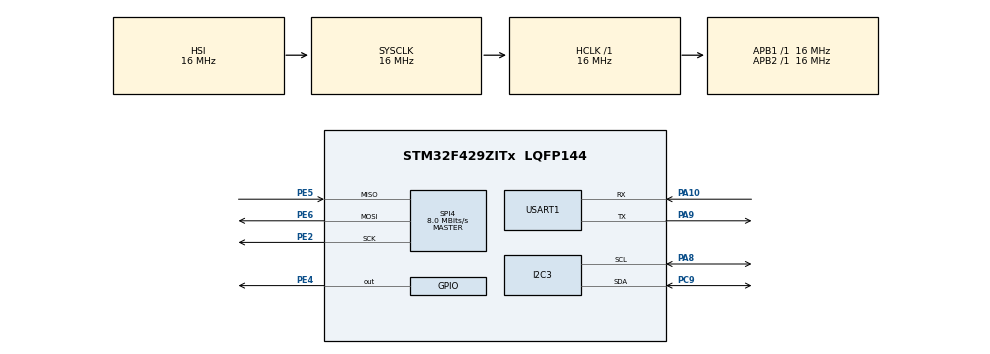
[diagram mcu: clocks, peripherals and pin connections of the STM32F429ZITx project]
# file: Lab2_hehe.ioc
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Mcu.Family=STM32F4
Mcu.Name=STM32F429ZITx
Mcu.Package=LQFP144
NVIC.PriorityGroup=NVIC_PRIORITYGROUP_4
PA10.Mode=Asynchronous
PA10.Signal=USART1_RX
PA8.Mode=I2C
PA8.Signal=I2C3_SCL
PA9.Mode=Asynchronous
PA9.Signal=USART1_TX
PC9.Mode=I2C
PC9.Signal=I2C3_SDA
PE2.Mode=Full_Duplex_Master
PE2.Signal=SPI4_SCK
PE4.Signal=GPIO_Output
PE5.Mode=Full_Duplex_Master
PE5.Signal=SPI4_MISO
PE6.Mode=Full_Duplex_Master
PE6.Signal=SPI4_MOSI
ProjectManager.HeapSize=0x200
ProjectManager.StackSize=0x400
ProjectManager.TargetToolchain=STM32CubeIDE
RCC.AHBFreq_Value=16000000
RCC.APB1Freq_Value=16000000
RCC.APB2Freq_Value=16000000
RCC.CortexFreq_Value=16000000
RCC.HSE_VALUE=25000000
RCC.HSI_VALUE=16000000
RCC.LSE_VALUE=32768
RCC.SYSCLKFreq_VALUE=16000000
RCC.VCOOutputFreq_Value=192000000
SPI4.CalculateBaudRate=8.0 MBits/s
SPI4.Direction=SPI_DIRECTION_2LINES
SPI4.Mode=SPI_MODE_MASTER
SPI4.VirtualType=VM_MASTER
USART1.VirtualMode=VM_ASYNC
board=custom

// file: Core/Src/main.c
/* USER CODE BEGIN Header */
/**
  ******************************************************************************
  * @file           : main.c
  * @brief          : Main program body
  ******************************************************************************
  * @attention
  *
  * Copyright (c) 2025 STMicroelectronics.
  * All rights reserved.
  *
  * This software is licensed under terms that can be found in the LICENSE file
  * in the root directory of this software component.
  * If no LICENSE file comes with this software, it is provided AS-IS.
  *
  ******************************************************************************
  */
/* USER CODE END Header */
#include "main.h"

I2C_HandleTypeDef hi2c3;

SPI_HandleTypeDef hspi4;

UART_HandleTypeDef huart1;

void SystemClock_Config(void);
static void MX_GPIO_Init(void);
static void MX_I2C3_Init(void);
static void MX_SPI4_Init(void);
static void MX_USART1_UART_Init(void);

/* USER CODE BEGIN 0 */
struct Time{
	uint8_t sec;
	uint8_t min;
	uint8_t hour;
	uint8_t weekday;
	uint8_t day;
	uint8_t month;
	uint8_t year;
};

char buff[30];
struct Time Set_time, Get_Time;

void TestDS1307()
{

	Set_time.sec = 10;
	Set_time.min = 30;
	Set_time.hour = 7;
	Set_time.day = 9;
	Set_time.month = 11;
	Set_time.year = 24;
	Set_time.weekday = 0;

	//write time to DS1307
	HAL_I2C_Mem_Write(&hi2c3, 0xD0, 0, 1, (uint8_t *)&Set_time, 7, 1000);

	while (1) {
	//read time back
	HAL_I2C_Mem_Read(&hi2c3, 0xD1, 0, 1, (uint8_t *)&Get_Time, 7, 1000);

	// đẩy dữ liệu
	sprintf(buff,"%02d:%02d:%02d-%02d-%02d/%02d/%02d \n",
	Get_Time.hour,
	Get_Time.min,
	Get_Time.sec,
	Get_Time.weekday,
	Get_Time.day,
	Get_Time.month,
	Get_Time.year);

	HAL_UART_Transmit(&huart1, buff, strlen(buff), 1000); // hiển thị lên hercules
	HAL_Delay(500);
	}
}

void SetTime(uint8_t Hour,uint8_t Min,uint8_t Sec,uint8_t Weekday,uint8_t Day,uint8_t Month,uint8_t Year)
{
	Set_time.sec = Sec;
	Set_time.min = Min;
	Set_time.hour = Hour;
	Set_time.day = Day;
	Set_time.month = Month;
	Set_time.year = Year;
	Set_time.weekday = Weekday;
	//write time to DS1307
	HAL_I2C_Mem_Write(&hi2c3, 0xD0, 0, 1, (uint8_t *)&Set_time, 7, 1000);
}

void GetTime()
{
	//read time back
	HAL_I2C_Mem_Read(&hi2c3, 0xD1, 0, 1, (uint8_t *)&Get_Time, 7, 1000);

	// đẩy dữ liệu
	sprintf(buff,"%02d:%02d:%02d-%02d-%02d/%02d/%02d \n",
	Get_Time.hour,
	Get_Time.min,
	Get_Time.sec,
	Get_Time.weekday,
	Get_Time.day,
	Get_Time.month,
	Get_Time.year);

	HAL_UART_Transmit(&huart1, buff, strlen(buff), 1000); // hiển thị lên hercules
}

/* USER CODE END 0 */

int main(void)
{

  /* MCU Configuration--------------------------------------------------------*/

  /* Reset of all peripherals, Initializes the Flash interface and the Systick. */
  HAL_Init();

  /* Configure the system clock */
  SystemClock_Config();

  /* Initialize all configured peripherals */
  MX_GPIO_Init();
  MX_I2C3_Init();
  MX_SPI4_Init();
  MX_USART1_UART_Init();

  /* Infinite loop */
  while (1)
  {

  }
}

void SystemClock_Config(void)
{
  RCC_OscInitTypeDef RCC_OscInitStruct = {0};
  RCC_ClkInitTypeDef RCC_ClkInitStruct = {0};

  /** Configure the main internal regulator output voltage
  */
  __HAL_RCC_PWR_CLK_ENABLE();
  __HAL_PWR_VOLTAGESCALING_CONFIG(PWR_REGULATOR_VOLTAGE_SCALE3);

  /** Initializes the RCC Oscillators according to the specified parameters
  * in the RCC_OscInitTypeDef structure.
  */
  RCC_OscInitStruct.OscillatorType = RCC_OSCILLATORTYPE_HSI;
  RCC_OscInitStruct.HSIState = RCC_HSI_ON;
  RCC_OscInitStruct.HSICalibrationValue = RCC_HSICALIBRATION_DEFAULT;
  RCC_OscInitStruct.PLL.PLLState = RCC_PLL_NONE;
  if (HAL_RCC_OscConfig(&RCC_OscInitStruct) != HAL_OK)
  {
    Error_Handler();
  }

  /** Initializes the CPU, AHB and APB buses clocks
  */
  RCC_ClkInitStruct.ClockType = RCC_CLOCKTYPE_HCLK|RCC_CLOCKTYPE_SYSCLK
                              |RCC_CLOCKTYPE_PCLK1|RCC_CLOCKTYPE_PCLK2;
  RCC_ClkInitStruct.SYSCLKSource = RCC_SYSCLKSOURCE_HSI;
  RCC_ClkInitStruct.AHBCLKDivider = RCC_SYSCLK_DIV1;
  RCC_ClkInitStruct.APB1CLKDivider = RCC_HCLK_DIV1;
  RCC_ClkInitStruct.APB2CLKDivider = RCC_HCLK_DIV1;

  if (HAL_RCC_ClockConfig(&RCC_ClkInitStruct, FLASH_LATENCY_0) != HAL_OK)
  {
    Error_Handler();
  }
}

static void MX_I2C3_Init(void)
{

  hi2c3.Instance = I2C3;
  hi2c3.Init.ClockSpeed = 100000;
  hi2c3.Init.DutyCycle = I2C_DUTYCYCLE_2;
  hi2c3.Init.OwnAddress1 = 0;
  hi2c3.Init.AddressingMode = I2C_ADDRESSINGMODE_7BIT;
  hi2c3.Init.DualAddressMode = I2C_DUALADDRESS_DISABLE;
  hi2c3.Init.OwnAddress2 = 0;
  hi2c3.Init.GeneralCallMode = I2C_GENERALCALL_DISABLE;
  hi2c3.Init.NoStretchMode = I2C_NOSTRETCH_DISABLE;
  if (HAL_I2C_Init(&hi2c3) != HAL_OK)
  {
    Error_Handler();
  }

  /** Configure Analogue filter
  */
  if (HAL_I2CEx_ConfigAnalogFilter(&hi2c3, I2C_ANALOGFILTER_ENABLE) != HAL_OK)
  {
    Error_Handler();
  }

  /** Configure Digital filter
  */
  if (HAL_I2CEx_ConfigDigitalFilter(&hi2c3, 0) != HAL_OK)
  {
    Error_Handler();
  }

}

static void MX_SPI4_Init(void)
{

  /* SPI4 parameter configuration*/
  hspi4.Instance = SPI4;
  hspi4.Init.Mode = SPI_MODE_MASTER;
  hspi4.Init.Direction = SPI_DIRECTION_2LINES;
  hspi4.Init.DataSize = SPI_DATASIZE_8BIT;
  hspi4.Init.CLKPolarity = SPI_POLARITY_LOW;
  hspi4.Init.CLKPhase = SPI_PHASE_1EDGE;
  hspi4.Init.NSS = SPI_NSS_SOFT;
  hspi4.Init.BaudRatePrescaler = SPI_BAUDRATEPRESCALER_2;
  hspi4.Init.FirstBit = SPI_FIRSTBIT_MSB;
  hspi4.Init.TIMode = SPI_TIMODE_DISABLE;
  hspi4.Init.CRCCalculation = SPI_CRCCALCULATION_DISABLE;
  hspi4.Init.CRCPolynomial = 10;
  if (HAL_SPI_Init(&hspi4) != HAL_OK)
  {
    Error_Handler();
  }

}

static void MX_USART1_UART_Init(void)
{

  huart1.Instance = USART1;
  huart1.Init.BaudRate = 115200;
  huart1.Init.WordLength = UART_WORDLENGTH_8B;
  huart1.Init.StopBits = UART_STOPBITS_1;
  huart1.Init.Parity = UART_PARITY_NONE;
  huart1.Init.Mode = UART_MODE_TX_RX;
  huart1.Init.HwFlowCtl = UART_HWCONTROL_NONE;
  huart1.Init.OverSampling = UART_OVERSAMPLING_16;
  if (HAL_UART_Init(&huart1) != HAL_OK)
  {
    Error_Handler();
  }

}

static void MX_GPIO_Init(void)
{
  GPIO_InitTypeDef GPIO_InitStruct = {0};

  /* GPIO Ports Clock Enable */
  __HAL_RCC_GPIOE_CLK_ENABLE();
  __HAL_RCC_GPIOC_CLK_ENABLE();
  __HAL_RCC_GPIOA_CLK_ENABLE();

  /*Configure GPIO pin Output Level */
  HAL_GPIO_WritePin(GPIOE, GPIO_PIN_4, GPIO_PIN_RESET);

  /*Configure GPIO pin : PE4 */
  GPIO_InitStruct.Pin = GPIO_PIN_4;
  GPIO_InitStruct.Mode = GPIO_MODE_OUTPUT_PP;
  GPIO_InitStruct.Pull = GPIO_NOPULL;
  GPIO_InitStruct.Speed = GPIO_SPEED_FREQ_LOW;
  HAL_GPIO_Init(GPIOE, &GPIO_InitStruct);

}

void Error_Handler(void)
{
  __disable_irq();
  while (1)
  {
  }
}
